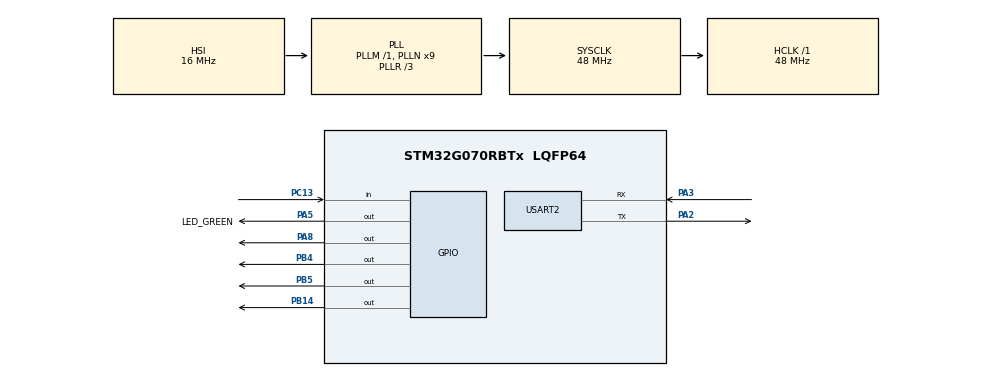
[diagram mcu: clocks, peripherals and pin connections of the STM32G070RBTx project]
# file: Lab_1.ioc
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Mcu.Family=STM32G0
Mcu.Name=STM32G070RBTx
Mcu.Package=LQFP64
PA13.GPIO_Label=TMS
PA13.Mode=Serial_Wire
PA13.Signal=SYS_SWDIO
PA14-BOOT0.GPIO_Label=TCK
PA14-BOOT0.Mode=Serial_Wire
PA14-BOOT0.Signal=SYS_SWCLK
PA2.GPIO_PuPd=GPIO_PULLUP
PA2.Mode=Asynchronous
PA2.Signal=USART2_TX
PA3.GPIO_PuPd=GPIO_PULLUP
PA3.Mode=Asynchronous
PA3.Signal=USART2_RX
PA5.GPIO_Label=LED_GREEN
PA5.GPIO_Speed=GPIO_SPEED_FREQ_HIGH
PA5.Signal=GPIO_Output
PA8.Signal=GPIO_Output
PB14.Signal=GPIO_Output
PB4.Signal=GPIO_Output
PB5.Signal=GPIO_Output
PC13.Signal=GPIO_Input
PC14-OSC32_IN\ (PC14).Mode=LSE-External-Oscillator
PC14-OSC32_IN\ (PC14).Signal=RCC_OSC32_IN
PC15-OSC32_OUT\ (PC15).Mode=LSE-External-Oscillator
PC15-OSC32_OUT\ (PC15).Signal=RCC_OSC32_OUT
PF0-OSC_IN\ (PF0).GPIO_Label=MCO
PF0-OSC_IN\ (PF0).Mode=HSE-External-Clock-Source
PF0-OSC_IN\ (PF0).Signal=RCC_OSC_IN
ProjectManager.HeapSize=0x200
ProjectManager.StackSize=0x400
ProjectManager.TargetToolchain=EWARM V8.32
RCC.ADCFreq_Value=48000000
RCC.AHBFreq_Value=48000000
RCC.CortexFreq_Value=48000000
RCC.EXTERNAL_CLOCK_VALUE=12288000
RCC.HCLKFreq_Value=48000000
RCC.HSE_VALUE=8000000
RCC.HSI_VALUE=16000000
RCC.PLLN=9
RCC.PLLR=RCC_PLLR_DIV3
RCC.SYSCLKFreq_VALUE=48000000
RCC.SYSCLKSource=RCC_SYSCLKSOURCE_PLLCLK
RCC.VCOOutputFreq_Value=144000000
USART2.VirtualMode-Asynchronous=VM_ASYNC
USART2.WordLength=WORDLENGTH_7B
VP_SYS_VS_DBSignals.Mode=DisableDeadBatterySignals
board=NUCLEO-G070RB

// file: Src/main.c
/* USER CODE BEGIN Header */
/**
  ******************************************************************************
  * @file           : main.c
  * @brief          : Main program body
  ******************************************************************************
  * @attention
  *
  * <h2><center>&copy; Copyright (c) 2021 STMicroelectronics.
  * All rights reserved.</center></h2>
  *
  * This software component is licensed by ST under BSD 3-Clause license,
  * the "License"; You may not use this file except in compliance with the
  * License. You may obtain a copy of the License at:
  *                        opensource.org/licenses/BSD-3-Clause
  *
  ******************************************************************************
  */
/* USER CODE END Header */

#include "main.h"

/* USER CODE BEGIN PD */
#define Q1 GPIO_PIN_8
#define Q2 GPIO_PIN_5
#define Q3 GPIO_PIN_4
#define Q4 GPIO_PIN_14
/* USER CODE END PD */

UART_HandleTypeDef huart2;

void SystemClock_Config(void);
static void MX_GPIO_Init(void);
static void MX_USART2_UART_Init(void);
/* USER CODE BEGIN PFP */
void setASide(GPIO_PinState state);
void setBSide(GPIO_PinState state);
/* USER CODE END PFP */

int main(void)
{

  /* MCU Configuration--------------------------------------------------------*/

  /* Reset of all peripherals, Initializes the Flash interface and the Systick. */
  HAL_Init();

  /* USER CODE BEGIN Init */
  uint8_t isPressed = 0;
  GPIO_PinState buttonState;
  uint8_t toggle = 0;
  /* USER CODE END Init */

  /* Configure the system clock */
  SystemClock_Config();

  /* Initialize all configured peripherals */
  MX_GPIO_Init();
  MX_USART2_UART_Init();
  /* USER CODE BEGIN 2 */

  HAL_GPIO_WritePin(GPIOA, Q1, GPIO_PIN_RESET);
  HAL_GPIO_WritePin(GPIOB, Q2, GPIO_PIN_RESET);
  HAL_GPIO_WritePin(GPIOB, Q3, GPIO_PIN_RESET);
  HAL_GPIO_WritePin(GPIOB, Q4, GPIO_PIN_RESET);

  /* USER CODE END 2 */

  /* Infinite loop */
  while (1)
  {

    /* USER CODE BEGIN 3 */
    buttonState = HAL_GPIO_ReadPin(GPIOC, GPIO_PIN_13);
    if( isPressed == 0 && buttonState == GPIO_PIN_SET){
      buttonState = HAL_GPIO_ReadPin(GPIOC, GPIO_PIN_13);
      isPressed = 1;
      if (toggle) {
        toggle = 0;
        setASide(GPIO_PIN_RESET);
        HAL_Delay(100);
        setBSide(GPIO_PIN_SET);
      } else {
        toggle = 1;
        setBSide(GPIO_PIN_RESET);
        HAL_Delay(100);
        setASide(GPIO_PIN_SET);
      }
    } else if (buttonState == GPIO_PIN_RESET) {
      isPressed = 0U;
    }

  }
  /* USER CODE END 3 */
}

void SystemClock_Config(void)
{
  RCC_OscInitTypeDef RCC_OscInitStruct = {0};
  RCC_ClkInitTypeDef RCC_ClkInitStruct = {0};
  RCC_PeriphCLKInitTypeDef PeriphClkInit = {0};

  /** Configure the main internal regulator output voltage
  */
  HAL_PWREx_ControlVoltageScaling(PWR_REGULATOR_VOLTAGE_SCALE1);
  /** Initializes the CPU, AHB and APB busses clocks
  */
  RCC_OscInitStruct.OscillatorType = RCC_OSCILLATORTYPE_HSI;
  RCC_OscInitStruct.HSIState = RCC_HSI_ON;
  RCC_OscInitStruct.HSIDiv = RCC_HSI_DIV1;
  RCC_OscInitStruct.HSICalibrationValue = RCC_HSICALIBRATION_DEFAULT;
  RCC_OscInitStruct.PLL.PLLState = RCC_PLL_ON;
  RCC_OscInitStruct.PLL.PLLSource = RCC_PLLSOURCE_HSI;
  RCC_OscInitStruct.PLL.PLLM = RCC_PLLM_DIV1;
  RCC_OscInitStruct.PLL.PLLN = 9;
  RCC_OscInitStruct.PLL.PLLP = RCC_PLLP_DIV2;
  RCC_OscInitStruct.PLL.PLLR = RCC_PLLR_DIV3;
  if (HAL_RCC_OscConfig(&RCC_OscInitStruct) != HAL_OK)
  {
    Error_Handler();
  }
  /** Initializes the CPU, AHB and APB busses clocks
  */
  RCC_ClkInitStruct.ClockType = RCC_CLOCKTYPE_HCLK|RCC_CLOCKTYPE_SYSCLK
                              |RCC_CLOCKTYPE_PCLK1;
  RCC_ClkInitStruct.SYSCLKSource = RCC_SYSCLKSOURCE_PLLCLK;
  RCC_ClkInitStruct.AHBCLKDivider = RCC_SYSCLK_DIV1;
  RCC_ClkInitStruct.APB1CLKDivider = RCC_HCLK_DIV1;

  if (HAL_RCC_ClockConfig(&RCC_ClkInitStruct, FLASH_LATENCY_1) != HAL_OK)
  {
    Error_Handler();
  }
  /** Initializes the peripherals clocks
  */
  PeriphClkInit.PeriphClockSelection = RCC_PERIPHCLK_USART2;
  PeriphClkInit.Usart2ClockSelection = RCC_USART2CLKSOURCE_PCLK1;
  if (HAL_RCCEx_PeriphCLKConfig(&PeriphClkInit) != HAL_OK)
  {
    Error_Handler();
  }
}

static void MX_USART2_UART_Init(void)
{

  huart2.Instance = USART2;
  huart2.Init.BaudRate = 115200;
  huart2.Init.WordLength = UART_WORDLENGTH_7B;
  huart2.Init.StopBits = UART_STOPBITS_1;
  huart2.Init.Parity = UART_PARITY_NONE;
  huart2.Init.Mode = UART_MODE_TX_RX;
  huart2.Init.HwFlowCtl = UART_HWCONTROL_NONE;
  huart2.Init.OverSampling = UART_OVERSAMPLING_16;
  huart2.Init.OneBitSampling = UART_ONE_BIT_SAMPLE_DISABLE;
  huart2.Init.ClockPrescaler = UART_PRESCALER_DIV1;
  huart2.AdvancedInit.AdvFeatureInit = UART_ADVFEATURE_NO_INIT;
  if (HAL_UART_Init(&huart2) != HAL_OK)
  {
    Error_Handler();
  }
  if (HAL_UARTEx_SetTxFifoThreshold(&huart2, UART_TXFIFO_THRESHOLD_1_8) != HAL_OK)
  {
    Error_Handler();
  }
  if (HAL_UARTEx_SetRxFifoThreshold(&huart2, UART_RXFIFO_THRESHOLD_1_8) != HAL_OK)
  {
    Error_Handler();
  }
  if (HAL_UARTEx_DisableFifoMode(&huart2) != HAL_OK)
  {
    Error_Handler();
  }

}

static void MX_GPIO_Init(void)
{
  GPIO_InitTypeDef GPIO_InitStruct = {0};

  /* GPIO Ports Clock Enable */
  __HAL_RCC_GPIOC_CLK_ENABLE();
  __HAL_RCC_GPIOF_CLK_ENABLE();
  __HAL_RCC_GPIOA_CLK_ENABLE();
  __HAL_RCC_GPIOB_CLK_ENABLE();

  /*Configure GPIO pin Output Level */
  HAL_GPIO_WritePin(GPIOA, LED_GREEN_Pin|GPIO_PIN_8, GPIO_PIN_RESET);

  /*Configure GPIO pin Output Level */
  HAL_GPIO_WritePin(GPIOB, GPIO_PIN_14|GPIO_PIN_4|GPIO_PIN_5, GPIO_PIN_RESET);

  /*Configure GPIO pin : PC13 */
  GPIO_InitStruct.Pin = GPIO_PIN_13;
  GPIO_InitStruct.Mode = GPIO_MODE_INPUT;
  GPIO_InitStruct.Pull = GPIO_NOPULL;
  HAL_GPIO_Init(GPIOC, &GPIO_InitStruct);

  /*Configure GPIO pin : LED_GREEN_Pin */
  GPIO_InitStruct.Pin = LED_GREEN_Pin;
  GPIO_InitStruct.Mode = GPIO_MODE_OUTPUT_PP;
  GPIO_InitStruct.Pull = GPIO_NOPULL;
  GPIO_InitStruct.Speed = GPIO_SPEED_FREQ_HIGH;
  HAL_GPIO_Init(LED_GREEN_GPIO_Port, &GPIO_InitStruct);

  /*Configure GPIO pins : PB14 PB4 PB5 */
  GPIO_InitStruct.Pin = GPIO_PIN_14|GPIO_PIN_4|GPIO_PIN_5;
  GPIO_InitStruct.Mode = GPIO_MODE_OUTPUT_PP;
  GPIO_InitStruct.Pull = GPIO_NOPULL;
  GPIO_InitStruct.Speed = GPIO_SPEED_FREQ_LOW;
  HAL_GPIO_Init(GPIOB, &GPIO_InitStruct);

  /*Configure GPIO pin : PA8 */
  GPIO_InitStruct.Pin = GPIO_PIN_8;
  GPIO_InitStruct.Mode = GPIO_MODE_OUTPUT_PP;
  GPIO_InitStruct.Pull = GPIO_NOPULL;
  GPIO_InitStruct.Speed = GPIO_SPEED_FREQ_LOW;
  HAL_GPIO_Init(GPIOA, &GPIO_InitStruct);

}

/* USER CODE BEGIN 4 */
void setASide(GPIO_PinState state){
  HAL_GPIO_WritePin(GPIOA, Q1, state);
  HAL_GPIO_WritePin(GPIOB, Q3, state);
}
void setBSide(GPIO_PinState state){
  HAL_GPIO_WritePin(GPIOB, Q2, state);
  HAL_GPIO_WritePin(GPIOB, Q4, state);
}
/* USER CODE END 4 */

void Error_Handler(void)
{
}

/************************ (C) COPYRIGHT STMicroelectronics *****END OF FILE****/
